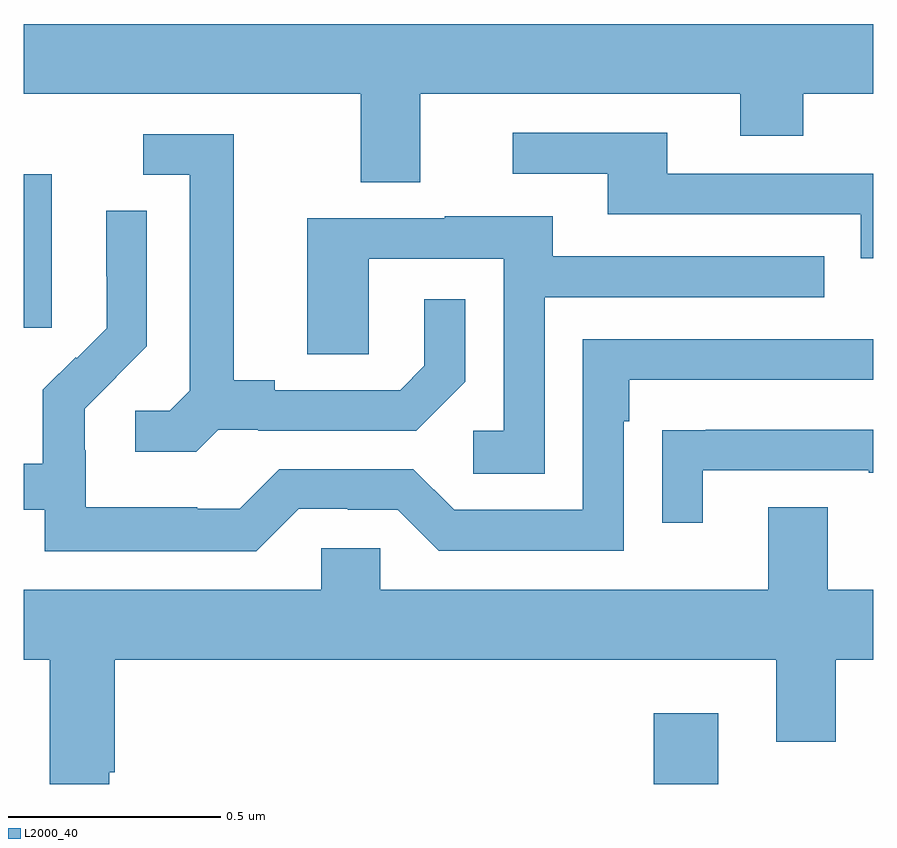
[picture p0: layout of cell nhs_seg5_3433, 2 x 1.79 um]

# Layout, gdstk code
import gdstk
lib = gdstk.Library(unit=1e-6, precision=1e-09)
def R(c, l, rs):  # rectangles x0, y0, x1, y1
    for r in rs: c.add(gdstk.rectangle(r[:2], r[2:], *l))
def P(c, l, *ps):  # polygons
    for p in ps: c.add(gdstk.Polygon(p, *l))
L2000_40 = (2000, 40)

nhs_seg5_3433 = lib.new_cell('nhs_seg5_3433')
R(nhs_seg5_3433, L2000_40, [(158.483,857.799,158.635,857.965), (157,858.873,157.066,859.234)])
P(nhs_seg5_3433, L2000_40, [(157.933,859.424),(158.687,859.424),(158.687,859.325),(158.835,859.325),(158.835,859.424),(159,859.424),(159,859.588),(157,859.588),(157,859.424),(157.793,859.424),(157.793,859.216),(157.933,859.216)],
  [(159,859.236),(158.515,859.236),(158.515,859.332),(158.151,859.332),(158.151,859.236),(158.375,859.236),(158.375,859.14),(158.97,859.14),(158.97,859.037),(159,859.037)],
  [(157.458,858.633),(157.552,858.633),(157.552,858.63),(157.924,858.63),(158.04,858.746),(158.04,858.94),(157.943,858.94),(157.943,858.783),(157.886,858.726),(157.591,858.726),(157.591,858.749),(157.495,858.749),(157.495,859.329),(157.281,859.329),(157.281,859.233),(157.391,859.233),(157.391,858.725),(157.344,858.678),(157.263,858.678),(157.263,858.581),(157.406,858.581)],
  [(157.647,858.447),(157.763,858.447),(157.763,858.444),(157.881,858.444),(157.977,858.348),(158.412,858.348),(158.412,858.653),(158.425,858.653),(158.425,858.75),(159,858.75),(159,858.846),(158.316,858.846),(158.316,858.444),(158.013,858.444),(157.917,858.54),(157.602,858.54),(157.509,858.447),(157.409,858.447),(157.409,858.451),(157.146,858.451),(157.146,858.585),(157.144,858.585),(157.144,858.682),(157.218,858.756),(157.217,858.757),(157.29,858.83),(157.29,859.148),(157.194,859.148),(157.194,858.994),(157.196,858.994),(157.196,858.872),(157.125,858.801),(157.122,858.804),(157.045,858.727),(157.045,858.553),(157,858.553),(157,858.444),(157.05,858.444),(157.05,858.347),(157.547,858.347)],
  [(158.226,858.945),(158.885,858.945),(158.885,859.041),(158.245,859.041),(158.245,859.135),(157.991,859.135),(157.991,859.131),(157.667,859.131),(157.667,858.811),(157.812,858.811),(157.812,859.035),(158.13,859.035),(158.13,858.63),(158.058,858.63),(158.058,858.529),(158.226,858.529)],
  [(158.599,858.537),(158.989,858.537),(158.989,858.532),(159,858.532),(159,858.633),(158.605,858.633),(158.605,858.632),(158.503,858.632),(158.503,858.414),(158.599,858.414)],
  [(157.201,857.827),(157.214,857.827),(157.214,858.092),(158.771,858.092),(158.771,857.898),(158.911,857.898),(158.911,858.092),(159,858.092),(159,858.256),(158.893,858.256),(158.893,858.451),(158.753,858.451),(158.753,858.256),(157.839,858.256),(157.839,858.354),(157.701,858.354),(157.701,858.256),(157,858.256),(157,858.092),(157.061,858.092),(157.061,857.799),(157.201,857.799)])

lib.write_gds('nhs_seg5_3433.gds')
